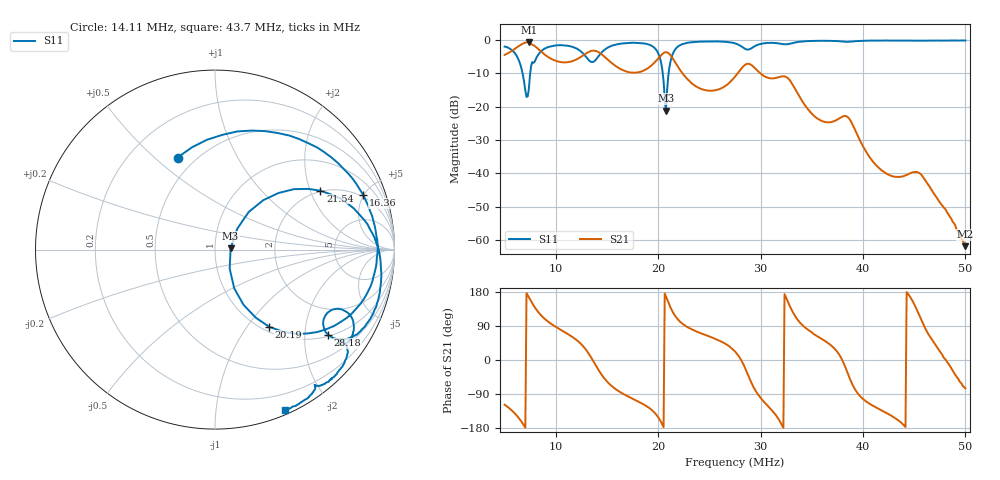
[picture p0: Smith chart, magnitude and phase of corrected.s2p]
! S11/S21 only; reverse parameters are placeholders. Device calibration unverified.
! [Saver CAL applied] C:\Users\aknya\MyProjects\rf-simulator\calibration2.cal | Ideal standards assumed | Input: NanoVNA F V2 profile | COM3 | 2026-09-08T11:16:53.9612237-04:00 | device calibration unverified
# HZ S RI R 50
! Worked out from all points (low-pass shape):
!   401 points, 5 MHz to 50 MHz, reference 50 ohm
!   highest |S21| = -0.68 dB at 7.362 MHz (marker M1); lowest = -61.8 dB at 50 MHz (marker M2)
!   |S21| within 3 dB of the highest: 5.496 MHz to 8.636 MHz (3.14 MHz wide, 44.4 % of centre); 13.16 MHz to 14.19 MHz (1.023 MHz wide, 7.48 % of centre)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
!   lowest |S11| = -21.2 dB at 20.75 MHz (marker M3), VSWR 1.19, Z = 59.5 + j0.974 ohm
!   |S11| at or under -10 dB: 6.754 MHz to 7.502 MHz (748.2 kHz wide, 10.5 % of centre); 20.44 MHz to 21.02 MHz (575.5 kHz wide, 2.78 % of centre)
!   S12 and S22 are empty: the file has one direction only
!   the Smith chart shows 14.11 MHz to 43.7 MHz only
!   S11 on the Smith chart (normalised r, x): 14.11 MHz: 0.40, +0.59; 16.36 MHz: 1.83, +4.96; 20.19 MHz: 1.08, -1.28; 21.54 MHz: 1.97, +2.36; 28.18 MHz: 1.04, -2.62; 43.7 MHz: 0.04, -1.53
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5000000  0.7175 -0.3457  -0.2805 -0.5276  0 0  0 0
7362500  0.171 0.0599  -0.8977 0.2208  0 0  0 0
9950000  0.7892 -0.2375  0.015 0.4884  0 0  0 0
1.25375e7  -0.0244 -0.6536  0.434 0.367  0 0  0 0
1.34375e7  -0.4645 -0.0694  0.6771 0.0871  0 0  0 0
1.41125e7  -0.2089 0.513  0.6078 -0.2666  0 0  0 0
1.63625e7  0.8263 0.3041  0.025 -0.3624  0 0  0 0
2.0075e7  0.3776 -0.4573  -0.4897 -0.2377  0 0  0 0
2.01875e7  0.3018 -0.43  -0.5322 -0.2033  0 0  0 0
2.075e7  0.0871 0.00812  -0.6406 0.1353  0 0  0 0
2.15375e7  0.5873 0.3281  -0.2564 0.4216  0 0  0 0
2.44625e7  0.9196 -0.2204  0.0685 0.1651  0 0  0 0
2.75e7  0.7366 -0.4973  0.2591 0.1085  0 0  0 0
2.8175e7  0.6305 -0.4746  0.3798 -0.0246  0 0  0 0
2.93e7  0.709 -0.3343  0.1282 -0.3754  0 0  0 0
3.2e7  0.6979 -0.5299  -0.2754 -0.0614  0 0  0 0
3.50375e7  0.7012 -0.6609  0.0235 0.0739  0 0  0 0
3.8525e7  0.5565 -0.7548  0.0561 -0.0411  0 0  0 0
4.2575e7  0.4374 -0.8731  -0.00763 -0.00556  0 0  0 0
4.37e7  0.3888 -0.893  -0.0086 -0.00238  0 0  0 0
4.5725e7  0.3167 -0.9197  -0.00222 0.0092  0 0  0 0
5e7  0.1585 -0.9682  0.000211 -0.000785  0 0  0 0
